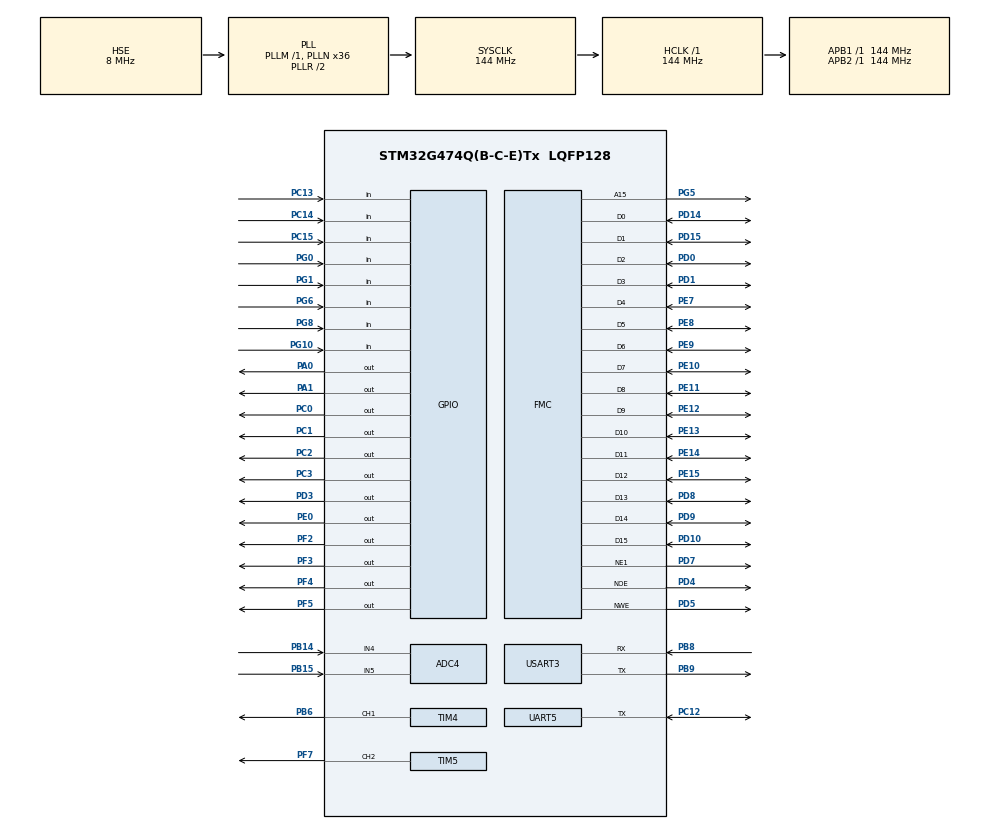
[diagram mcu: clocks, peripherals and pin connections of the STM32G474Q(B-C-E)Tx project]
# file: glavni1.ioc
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ADC4.Channel-3\#ChannelRegularConversion=ADC_CHANNEL_4
ADC4.Channel-4\#ChannelRegularConversion=ADC_CHANNEL_5
ADC4.DMAContinuousRequests=ENABLE
ADC4.ExternalTrigConv=ADC_EXTERNALTRIG_T1_TRGO
ADC4.NbrOfConversion=2
ADC4.NbrOfConversionFlag=1
ADC4.OffsetNumber-3\#ChannelRegularConversion=ADC_OFFSET_NONE
ADC4.OffsetNumber-4\#ChannelRegularConversion=ADC_OFFSET_NONE
ADC4.Rank-3\#ChannelRegularConversion=1
ADC4.Rank-4\#ChannelRegularConversion=2
ADC4.SamplingTime-3\#ChannelRegularConversion=ADC_SAMPLETIME_640CYCLES_5
ADC4.SamplingTime-4\#ChannelRegularConversion=ADC_SAMPLETIME_640CYCLES_5
Dma.ADC4.0.Direction=DMA_PERIPH_TO_MEMORY
Dma.ADC4.0.EventEnable=DISABLE
Dma.ADC4.0.Instance=DMA1_Channel1
Dma.ADC4.0.MemDataAlignment=DMA_MDATAALIGN_HALFWORD
Dma.ADC4.0.MemInc=DMA_MINC_ENABLE
Dma.ADC4.0.Mode=DMA_CIRCULAR
Dma.ADC4.0.PeriphDataAlignment=DMA_PDATAALIGN_HALFWORD
Dma.ADC4.0.PeriphInc=DMA_PINC_DISABLE
Dma.ADC4.0.Polarity=HAL_DMAMUX_REQ_GEN_RISING
Dma.ADC4.0.Priority=DMA_PRIORITY_LOW
Dma.ADC4.0.RequestNumber=1
Dma.ADC4.0.SignalID=NONE
Dma.ADC4.0.SyncEnable=DISABLE
Dma.ADC4.0.SyncPolarity=HAL_DMAMUX_SYNC_NO_EVENT
Dma.ADC4.0.SyncRequestNumber=1
Dma.ADC4.0.SyncSignalID=NONE
Dma.Request0=ADC4
FMC.AddressSetupTime1=1
FMC.BusTurnAroundDuration1=1
FMC.DataHoldTime1=1
FMC.DataSetupTime1=1
Mcu.Family=STM32G4
Mcu.Name=STM32G474Q(B-C-E)Tx
Mcu.Package=LQFP128
NVIC.DMA1_Channel1_IRQn=true\:0\:0\:false\:false\:true\:false\:true\:true
NVIC.PriorityGroup=NVIC_PRIORITYGROUP_4
NVIC.TIM5_IRQn=true\:0\:0\:false\:false\:true\:true\:true\:true
NVIC.TIM6_DAC_IRQn=true\:0\:0\:false\:false\:true\:true\:true\:true
NVIC.UART5_IRQn=true\:0\:0\:false\:false\:true\:true\:true\:true
NVIC.USART3_IRQn=true\:0\:0\:false\:false\:true\:true\:true\:true
PA0.Signal=GPIO_Output
PA1.Signal=GPIO_Output
PB14.Mode=IN4-Single-Ended
PB14.Signal=ADC4_IN4
PB15.Mode=IN5-Single-Ended
PB15.Signal=ADC4_IN5
PB6.Signal=S_TIM4_CH1
PB8-BOOT0.Mode=Asynchronous
PB8-BOOT0.Signal=USART3_RX
PB9.Mode=Asynchronous
PB9.Signal=USART3_TX
PC0.Signal=GPIO_Output
PC1.Signal=GPIO_Output
PC12.Mode=Half_duplex(single_wire_mode)
PC12.Signal=UART5_TX
PC13.GPIO_PuPd=GPIO_PULLUP
PC13.Signal=GPIO_Input
PC14-OSC32_IN.GPIO_PuPd=GPIO_PULLUP
PC14-OSC32_IN.Signal=GPIO_Input
PC15-OSC32_OUT.GPIO_PuPd=GPIO_PULLUP
PC15-OSC32_OUT.Signal=GPIO_Input
PC2.Signal=GPIO_Output
PC3.Signal=GPIO_Output
PD0.Signal=FMC_D2_DA2
PD1.Signal=FMC_D3_DA3
PD10.Signal=FMC_D15_DA15
PD14.Signal=FMC_D0_DA0
PD15.Signal=FMC_D1_DA1
PD3.Signal=GPIO_Output
PD4.Signal=FMC_NOE
PD5.Signal=FMC_NWE
PD7.Mode=NorPsramChipSelect1_1
PD7.Signal=FMC_NE1
PD8.Signal=FMC_D13_DA13
PD9.Signal=FMC_D14_DA14
PE0.Signal=GPIO_Output
PE10.Signal=FMC_D7_DA7
PE11.Signal=FMC_D8_DA8
PE12.Signal=FMC_D9_DA9
PE13.Signal=FMC_D10_DA10
PE14.Signal=FMC_D11_DA11
PE15.Signal=FMC_D12_DA12
PE7.Signal=FMC_D4_DA4
PE8.Signal=FMC_D5_DA5
PE9.Signal=FMC_D6_DA6
PF0-OSC_IN.Mode=HSE-External-Clock-Source
PF0-OSC_IN.Signal=RCC_OSC_IN
PF2.Signal=GPIO_Output
PF3.Signal=GPIO_Output
PF4.Signal=GPIO_Output
PF5.Signal=GPIO_Output
PF7.Signal=S_TIM5_CH2
PG0.GPIO_PuPd=GPIO_PULLUP
PG0.Signal=GPIO_Input
PG1.GPIO_PuPd=GPIO_PULLUP
PG1.Signal=GPIO_Input
PG10-NRST.GPIO_PuPd=GPIO_PULLUP
PG10-NRST.Signal=GPIO_Input
PG5.Signal=FMC_A15
PG6.GPIO_PuPd=GPIO_PULLUP
PG6.Signal=GPIO_Input
PG8.GPIO_PuPd=GPIO_PULLUP
PG8.Signal=GPIO_Input
ProjectManager.HeapSize=0x200
ProjectManager.StackSize=0x400
ProjectManager.TargetToolchain=STM32CubeIDE
RCC.ADC12Freq_Value=144000000
RCC.ADC345Freq_Value=144000000
RCC.AHBFreq_Value=144000000
RCC.APB1Freq_Value=144000000
RCC.APB1TimFreq_Value=144000000
RCC.APB2Freq_Value=144000000
RCC.APB2TimFreq_Value=144000000
RCC.CortexFreq_Value=144000000
RCC.EXTERNAL_CLOCK_VALUE=12288000
RCC.HCLKFreq_Value=144000000
RCC.HSE_VALUE=8000000
RCC.HSI48_VALUE=48000000
RCC.HSI_VALUE=16000000
RCC.LSE_VALUE=32768
RCC.PLLN=36
RCC.PLLQ=RCC_PLLQ_DIV6
RCC.PLLSourceVirtual=RCC_PLLSOURCE_HSE
RCC.SYSCLKFreq_VALUE=144000000
RCC.SYSCLKSource=RCC_SYSCLKSOURCE_PLLCLK
RCC.USBFreq_Value=48000000
RCC.VCOOutputFreq_Value=288000000
SH.FMC_A15.0=FMC_A15,A15_1
SH.FMC_D0_DA0.0=FMC_D0,16b-d1
SH.FMC_D10_DA10.0=FMC_D10,16b-d1
SH.FMC_D11_DA11.0=FMC_D11,16b-d1
SH.FMC_D12_DA12.0=FMC_D12,16b-d1
SH.FMC_D13_DA13.0=FMC_D13,16b-d1
SH.FMC_D14_DA14.0=FMC_D14,16b-d1
SH.FMC_D15_DA15.0=FMC_D15,16b-d1
SH.FMC_D1_DA1.0=FMC_D1,16b-d1
SH.FMC_D2_DA2.0=FMC_D2,16b-d1
SH.FMC_D3_DA3.0=FMC_D3,16b-d1
SH.FMC_D4_DA4.0=FMC_D4,16b-d1
SH.FMC_D5_DA5.0=FMC_D5,16b-d1
SH.FMC_D6_DA6.0=FMC_D6,16b-d1
SH.FMC_D7_DA7.0=FMC_D7,16b-d1
SH.FMC_D8_DA8.0=FMC_D8,16b-d1
SH.FMC_D9_DA9.0=FMC_D9,16b-d1
SH.FMC_NOE.0=FMC_NOE,Lcd1
SH.FMC_NWE.0=FMC_NWE,Lcd1
SH.S_TIM4_CH1.0=TIM4_CH1,PWM Generation1 CH1
SH.S_TIM5_CH2.0=TIM5_CH2,PWM Generation2 CH2
TIM1.PeriodNoDither=100
TIM1.Prescaler=14399
TIM1.TIM_MasterOutputTrigger=TIM_TRGO_UPDATE
TIM4.Channel-PWM\ Generation1\ CH1=TIM_CHANNEL_1
TIM4.PeriodNoDither=99
TIM4.Prescaler=14399
TIM5.AutoReloadPreload=TIM_AUTORELOAD_PRELOAD_ENABLE
TIM5.Channel-PWM\ Generation2\ CH2=TIM_CHANNEL_2
TIM5.PeriodNoDither=499
TIM5.Prescaler=143
TIM6.PeriodNoDither=999
TIM6.Prescaler=143
UART5.BaudRate=9600
USART3.OverrunDisableParam=ADVFEATURE_OVERRUN_DISABLE
USART3.VirtualMode-Asynchronous=VM_ASYNC
VP_SYS_VS_DBSignals.Mode=DisableDeadBatterySignals
VP_TIM1_VS_ClockSourceINT.Mode=Internal
VP_TIM4_VS_ClockSourceINT.Mode=Internal
VP_TIM5_VS_ClockSourceINT.Mode=Internal
VP_TIM6_VS_ClockSourceINT.Mode=Enable_Timer
board=custom

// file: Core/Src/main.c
/* USER CODE BEGIN Header */
/**
  ******************************************************************************
  * @file           : main.c
  * @brief          : Main program body
  ******************************************************************************
  * @attention
  *
  * Copyright (c) 2026 STMicroelectronics.
  * All rights reserved.
  *
  * This software is licensed under terms that can be found in the LICENSE file
  * in the root directory of this software component.
  * If no LICENSE file comes with this software, it is provided AS-IS.
  *
  ******************************************************************************
  */
/* USER CODE END Header */
#include "main.h"

/* USER CODE BEGIN Includes */
#include "SCI.h"

#include "periodic_services.h"
#include "timing_utils.h"
#include "lcd_backlight.h"
#include "lcd.h"
#include "joystick.h"

#include "graphics.h"
#include "game.h"
/* USER CODE END Includes */

ADC_HandleTypeDef hadc4;
DMA_HandleTypeDef hdma_adc4;

TIM_HandleTypeDef htim1;
TIM_HandleTypeDef htim5;

SRAM_HandleTypeDef hsram1;

void SystemClock_Config(void);
static void MX_GPIO_Init(void);
static void MX_DMA_Init(void);
static void MX_USART3_UART_Init(void);
static void MX_UART5_Init(void);
static void MX_TIM6_Init(void);
static void MX_TIM4_Init(void);
static void MX_FMC_Init(void);
static void MX_ADC4_Init(void);
static void MX_TIM1_Init(void);
static void MX_TIM5_Init(void);

int main(void)
{

  /* MCU Configuration--------------------------------------------------------*/

  /* Reset of all peripherals, Initializes the Flash interface and the Systick. */
  HAL_Init();

  /* Configure the system clock */
  SystemClock_Config();

  /* Initialize all configured peripherals */
  MX_GPIO_Init();
  MX_DMA_Init();
  MX_USART3_UART_Init();
  MX_UART5_Init();
  MX_TIM6_Init();
  MX_TIM4_Init();
  MX_FMC_Init();
  MX_ADC4_Init();
  MX_TIM1_Init();
  MX_TIM5_Init();
  /* USER CODE BEGIN 2 */

  	  SCI_init();

  	  PSERV_init();
  	  PSERV_enable();

  	  LCD_BKLT_init();
  	  LCD_Init();
  	  LCD_uGUI_init();
  	  JOY_init(&hadc4, &htim1);

  	  InitMotor();

  	  MmsToMove(EX_MOTOR, 5000, DIR_RIGHT);

  /* USER CODE END 2 */

  /* Infinite loop */
  /* USER CODE BEGIN WHILE */
  while (1)
  {
	  //MainMenu();
    /* USER CODE END WHILE */

  }
}

void SystemClock_Config(void)
{
  RCC_OscInitTypeDef RCC_OscInitStruct = {0};
  RCC_ClkInitTypeDef RCC_ClkInitStruct = {0};

  /** Configure the main internal regulator output voltage
  */
  HAL_PWREx_ControlVoltageScaling(PWR_REGULATOR_VOLTAGE_SCALE1);

  /** Initializes the RCC Oscillators according to the specified parameters
  * in the RCC_OscInitTypeDef structure.
  */
  RCC_OscInitStruct.OscillatorType = RCC_OSCILLATORTYPE_HSE;
  RCC_OscInitStruct.HSEState = RCC_HSE_BYPASS;
  RCC_OscInitStruct.PLL.PLLState = RCC_PLL_ON;
  RCC_OscInitStruct.PLL.PLLSource = RCC_PLLSOURCE_HSE;
  RCC_OscInitStruct.PLL.PLLM = RCC_PLLM_DIV1;
  RCC_OscInitStruct.PLL.PLLN = 36;
  RCC_OscInitStruct.PLL.PLLP = RCC_PLLP_DIV2;
  RCC_OscInitStruct.PLL.PLLQ = RCC_PLLQ_DIV6;
  RCC_OscInitStruct.PLL.PLLR = RCC_PLLR_DIV2;
  if (HAL_RCC_OscConfig(&RCC_OscInitStruct) != HAL_OK)
  {
    Error_Handler();
  }

  /** Initializes the CPU, AHB and APB buses clocks
  */
  RCC_ClkInitStruct.ClockType = RCC_CLOCKTYPE_HCLK|RCC_CLOCKTYPE_SYSCLK
                              |RCC_CLOCKTYPE_PCLK1|RCC_CLOCKTYPE_PCLK2;
  RCC_ClkInitStruct.SYSCLKSource = RCC_SYSCLKSOURCE_PLLCLK;
  RCC_ClkInitStruct.AHBCLKDivider = RCC_SYSCLK_DIV1;
  RCC_ClkInitStruct.APB1CLKDivider = RCC_HCLK_DIV1;
  RCC_ClkInitStruct.APB2CLKDivider = RCC_HCLK_DIV1;

  if (HAL_RCC_ClockConfig(&RCC_ClkInitStruct, FLASH_LATENCY_4) != HAL_OK)
  {
    Error_Handler();
  }
}

static void MX_ADC4_Init(void)
{

  ADC_ChannelConfTypeDef sConfig = {0};

  /** Common config
  */
  hadc4.Instance = ADC4;
  hadc4.Init.ClockPrescaler = ADC_CLOCK_SYNC_PCLK_DIV4;
  hadc4.Init.Resolution = ADC_RESOLUTION_12B;
  hadc4.Init.DataAlign = ADC_DATAALIGN_RIGHT;
  hadc4.Init.GainCompensation = 0;
  hadc4.Init.ScanConvMode = ADC_SCAN_ENABLE;
  hadc4.Init.EOCSelection = ADC_EOC_SINGLE_CONV;
  hadc4.Init.LowPowerAutoWait = DISABLE;
  hadc4.Init.ContinuousConvMode = DISABLE;
  hadc4.Init.NbrOfConversion = 2;
  hadc4.Init.DiscontinuousConvMode = DISABLE;
  hadc4.Init.ExternalTrigConv = ADC_EXTERNALTRIG_T1_TRGO;
  hadc4.Init.ExternalTrigConvEdge = ADC_EXTERNALTRIGCONVEDGE_RISING;
  hadc4.Init.DMAContinuousRequests = ENABLE;
  hadc4.Init.Overrun = ADC_OVR_DATA_PRESERVED;
  hadc4.Init.OversamplingMode = DISABLE;
  if (HAL_ADC_Init(&hadc4) != HAL_OK)
  {
    Error_Handler();
  }

  /** Configure Regular Channel
  */
  sConfig.Channel = ADC_CHANNEL_4;
  sConfig.Rank = ADC_REGULAR_RANK_1;
  sConfig.SamplingTime = ADC_SAMPLETIME_640CYCLES_5;
  sConfig.SingleDiff = ADC_SINGLE_ENDED;
  sConfig.OffsetNumber = ADC_OFFSET_NONE;
  sConfig.Offset = 0;
  if (HAL_ADC_ConfigChannel(&hadc4, &sConfig) != HAL_OK)
  {
    Error_Handler();
  }

  /** Configure Regular Channel
  */
  sConfig.Channel = ADC_CHANNEL_5;
  sConfig.Rank = ADC_REGULAR_RANK_2;
  if (HAL_ADC_ConfigChannel(&hadc4, &sConfig) != HAL_OK)
  {
    Error_Handler();
  }

}

static void MX_TIM1_Init(void)
{

  TIM_ClockConfigTypeDef sClockSourceConfig = {0};
  TIM_MasterConfigTypeDef sMasterConfig = {0};

  htim1.Instance = TIM1;
  htim1.Init.Prescaler = 14399;
  htim1.Init.CounterMode = TIM_COUNTERMODE_UP;
  htim1.Init.Period = 100;
  htim1.Init.ClockDivision = TIM_CLOCKDIVISION_DIV1;
  htim1.Init.RepetitionCounter = 0;
  htim1.Init.AutoReloadPreload = TIM_AUTORELOAD_PRELOAD_DISABLE;
  if (HAL_TIM_Base_Init(&htim1) != HAL_OK)
  {
    Error_Handler();
  }
  sClockSourceConfig.ClockSource = TIM_CLOCKSOURCE_INTERNAL;
  if (HAL_TIM_ConfigClockSource(&htim1, &sClockSourceConfig) != HAL_OK)
  {
    Error_Handler();
  }
  sMasterConfig.MasterOutputTrigger = TIM_TRGO_UPDATE;
  sMasterConfig.MasterOutputTrigger2 = TIM_TRGO2_RESET;
  sMasterConfig.MasterSlaveMode = TIM_MASTERSLAVEMODE_DISABLE;
  if (HAL_TIMEx_MasterConfigSynchronization(&htim1, &sMasterConfig) != HAL_OK)
  {
    Error_Handler();
  }

}

static void MX_TIM4_Init(void)
{

  LL_TIM_InitTypeDef TIM_InitStruct = {0};
  LL_TIM_OC_InitTypeDef TIM_OC_InitStruct = {0};

  LL_GPIO_InitTypeDef GPIO_InitStruct = {0};

  /* Peripheral clock enable */
  LL_APB1_GRP1_EnableClock(LL_APB1_GRP1_PERIPH_TIM4);

  TIM_InitStruct.Prescaler = 14399;
  TIM_InitStruct.CounterMode = LL_TIM_COUNTERMODE_UP;
  TIM_InitStruct.Autoreload = 99;
  TIM_InitStruct.ClockDivision = LL_TIM_CLOCKDIVISION_DIV1;
  LL_TIM_Init(TIM4, &TIM_InitStruct);
  LL_TIM_DisableARRPreload(TIM4);
  LL_TIM_SetClockSource(TIM4, LL_TIM_CLOCKSOURCE_INTERNAL);
  LL_TIM_OC_EnablePreload(TIM4, LL_TIM_CHANNEL_CH1);
  TIM_OC_InitStruct.OCMode = LL_TIM_OCMODE_PWM1;
  TIM_OC_InitStruct.OCState = LL_TIM_OCSTATE_DISABLE;
  TIM_OC_InitStruct.OCNState = LL_TIM_OCSTATE_DISABLE;
  TIM_OC_InitStruct.CompareValue = 0;
  TIM_OC_InitStruct.OCPolarity = LL_TIM_OCPOLARITY_HIGH;
  LL_TIM_OC_Init(TIM4, LL_TIM_CHANNEL_CH1, &TIM_OC_InitStruct);
  LL_TIM_OC_DisableFast(TIM4, LL_TIM_CHANNEL_CH1);
  LL_TIM_SetTriggerOutput(TIM4, LL_TIM_TRGO_RESET);
  LL_TIM_DisableMasterSlaveMode(TIM4);
  LL_AHB2_GRP1_EnableClock(LL_AHB2_GRP1_PERIPH_GPIOB);
  /**TIM4 GPIO Configuration
  PB6   ------> TIM4_CH1
  */
  GPIO_InitStruct.Pin = LL_GPIO_PIN_6;
  GPIO_InitStruct.Mode = LL_GPIO_MODE_ALTERNATE;
  GPIO_InitStruct.Speed = LL_GPIO_SPEED_FREQ_LOW;
  GPIO_InitStruct.OutputType = LL_GPIO_OUTPUT_PUSHPULL;
  GPIO_InitStruct.Pull = LL_GPIO_PULL_NO;
  GPIO_InitStruct.Alternate = LL_GPIO_AF_2;
  LL_GPIO_Init(GPIOB, &GPIO_InitStruct);

}

static void MX_TIM5_Init(void)
{

  TIM_ClockConfigTypeDef sClockSourceConfig = {0};
  TIM_MasterConfigTypeDef sMasterConfig = {0};
  TIM_OC_InitTypeDef sConfigOC = {0};

  htim5.Instance = TIM5;
  htim5.Init.Prescaler = 143;
  htim5.Init.CounterMode = TIM_COUNTERMODE_UP;
  htim5.Init.Period = 499;
  htim5.Init.ClockDivision = TIM_CLOCKDIVISION_DIV1;
  htim5.Init.AutoReloadPreload = TIM_AUTORELOAD_PRELOAD_ENABLE;
  if (HAL_TIM_Base_Init(&htim5) != HAL_OK)
  {
    Error_Handler();
  }
  sClockSourceConfig.ClockSource = TIM_CLOCKSOURCE_INTERNAL;
  if (HAL_TIM_ConfigClockSource(&htim5, &sClockSourceConfig) != HAL_OK)
  {
    Error_Handler();
  }
  if (HAL_TIM_PWM_Init(&htim5) != HAL_OK)
  {
    Error_Handler();
  }
  sMasterConfig.MasterOutputTrigger = TIM_TRGO_RESET;
  sMasterConfig.MasterSlaveMode = TIM_MASTERSLAVEMODE_DISABLE;
  if (HAL_TIMEx_MasterConfigSynchronization(&htim5, &sMasterConfig) != HAL_OK)
  {
    Error_Handler();
  }
  sConfigOC.OCMode = TIM_OCMODE_PWM1;
  sConfigOC.Pulse = 0;
  sConfigOC.OCPolarity = TIM_OCPOLARITY_HIGH;
  sConfigOC.OCFastMode = TIM_OCFAST_DISABLE;
  if (HAL_TIM_PWM_ConfigChannel(&htim5, &sConfigOC, TIM_CHANNEL_2) != HAL_OK)
  {
    Error_Handler();
  }
  HAL_TIM_MspPostInit(&htim5);

}

static void MX_TIM6_Init(void)
{

  LL_TIM_InitTypeDef TIM_InitStruct = {0};

  /* Peripheral clock enable */
  LL_APB1_GRP1_EnableClock(LL_APB1_GRP1_PERIPH_TIM6);

  /* TIM6 interrupt Init */
  NVIC_SetPriority(TIM6_DAC_IRQn, NVIC_EncodePriority(NVIC_GetPriorityGrouping(),0, 0));
  NVIC_EnableIRQ(TIM6_DAC_IRQn);

  TIM_InitStruct.Prescaler = 143;
  TIM_InitStruct.CounterMode = LL_TIM_COUNTERMODE_UP;
  TIM_InitStruct.Autoreload = 999;
  LL_TIM_Init(TIM6, &TIM_InitStruct);
  LL_TIM_DisableARRPreload(TIM6);
  LL_TIM_SetTriggerOutput(TIM6, LL_TIM_TRGO_RESET);
  LL_TIM_DisableMasterSlaveMode(TIM6);

}

static void MX_UART5_Init(void)
{

  LL_USART_InitTypeDef USART_InitStruct = {0};

  LL_GPIO_InitTypeDef GPIO_InitStruct = {0};
  RCC_PeriphCLKInitTypeDef PeriphClkInit = {0};

  /** Initializes the peripherals clocks
  */
  PeriphClkInit.PeriphClockSelection = RCC_PERIPHCLK_UART5;
  PeriphClkInit.Uart5ClockSelection = RCC_UART5CLKSOURCE_PCLK1;
  if (HAL_RCCEx_PeriphCLKConfig(&PeriphClkInit) != HAL_OK)
  {
    Error_Handler();
  }

  /* Peripheral clock enable */
  LL_APB1_GRP1_EnableClock(LL_APB1_GRP1_PERIPH_UART5);

  LL_AHB2_GRP1_EnableClock(LL_AHB2_GRP1_PERIPH_GPIOC);
  /**UART5 GPIO Configuration
  PC12   ------> UART5_TX
  */
  GPIO_InitStruct.Pin = LL_GPIO_PIN_12;
  GPIO_InitStruct.Mode = LL_GPIO_MODE_ALTERNATE;
  GPIO_InitStruct.Speed = LL_GPIO_SPEED_FREQ_LOW;
  GPIO_InitStruct.OutputType = LL_GPIO_OUTPUT_OPENDRAIN;
  GPIO_InitStruct.Pull = LL_GPIO_PULL_NO;
  GPIO_InitStruct.Alternate = LL_GPIO_AF_5;
  LL_GPIO_Init(GPIOC, &GPIO_InitStruct);

  /* UART5 interrupt Init */
  NVIC_SetPriority(UART5_IRQn, NVIC_EncodePriority(NVIC_GetPriorityGrouping(),0, 0));
  NVIC_EnableIRQ(UART5_IRQn);

  USART_InitStruct.PrescalerValue = LL_USART_PRESCALER_DIV1;
  USART_InitStruct.BaudRate = 9600;
  USART_InitStruct.DataWidth = LL_USART_DATAWIDTH_8B;
  USART_InitStruct.StopBits = LL_USART_STOPBITS_1;
  USART_InitStruct.Parity = LL_USART_PARITY_NONE;
  USART_InitStruct.TransferDirection = LL_USART_DIRECTION_TX_RX;
  USART_InitStruct.OverSampling = LL_USART_OVERSAMPLING_16;
  LL_USART_Init(UART5, &USART_InitStruct);
  LL_USART_DisableFIFO(UART5);
  LL_USART_SetTXFIFOThreshold(UART5, LL_USART_FIFOTHRESHOLD_1_8);
  LL_USART_SetRXFIFOThreshold(UART5, LL_USART_FIFOTHRESHOLD_1_8);
  LL_USART_ConfigHalfDuplexMode(UART5);

  LL_USART_Enable(UART5);

  /* Polling UART5 initialisation */
  while((!(LL_USART_IsActiveFlag_TEACK(UART5))) || (!(LL_USART_IsActiveFlag_REACK(UART5))))
  {
  }

}

static void MX_USART3_UART_Init(void)
{

  LL_USART_InitTypeDef USART_InitStruct = {0};

  LL_GPIO_InitTypeDef GPIO_InitStruct = {0};
  RCC_PeriphCLKInitTypeDef PeriphClkInit = {0};

  /** Initializes the peripherals clocks
  */
  PeriphClkInit.PeriphClockSelection = RCC_PERIPHCLK_USART3;
  PeriphClkInit.Usart3ClockSelection = RCC_USART3CLKSOURCE_PCLK1;
  if (HAL_RCCEx_PeriphCLKConfig(&PeriphClkInit) != HAL_OK)
  {
    Error_Handler();
  }

  /* Peripheral clock enable */
  LL_APB1_GRP1_EnableClock(LL_APB1_GRP1_PERIPH_USART3);

  LL_AHB2_GRP1_EnableClock(LL_AHB2_GRP1_PERIPH_GPIOB);
  /**USART3 GPIO Configuration
  PB8-BOOT0   ------> USART3_RX
  PB9   ------> USART3_TX
  */
  GPIO_InitStruct.Pin = LL_GPIO_PIN_8;
  GPIO_InitStruct.Mode = LL_GPIO_MODE_ALTERNATE;
  GPIO_InitStruct.Speed = LL_GPIO_SPEED_FREQ_LOW;
  GPIO_InitStruct.OutputType = LL_GPIO_OUTPUT_PUSHPULL;
  GPIO_InitStruct.Pull = LL_GPIO_PULL_NO;
  GPIO_InitStruct.Alternate = LL_GPIO_AF_7;
  LL_GPIO_Init(GPIOB, &GPIO_InitStruct);

  GPIO_InitStruct.Pin = LL_GPIO_PIN_9;
  GPIO_InitStruct.Mode = LL_GPIO_MODE_ALTERNATE;
  GPIO_InitStruct.Speed = LL_GPIO_SPEED_FREQ_LOW;
  GPIO_InitStruct.OutputType = LL_GPIO_OUTPUT_PUSHPULL;
  GPIO_InitStruct.Pull = LL_GPIO_PULL_NO;
  GPIO_InitStruct.Alternate = LL_GPIO_AF_7;
  LL_GPIO_Init(GPIOB, &GPIO_InitStruct);

  /* USART3 interrupt Init */
  NVIC_SetPriority(USART3_IRQn, NVIC_EncodePriority(NVIC_GetPriorityGrouping(),0, 0));
  NVIC_EnableIRQ(USART3_IRQn);

  USART_InitStruct.PrescalerValue = LL_USART_PRESCALER_DIV1;
  USART_InitStruct.BaudRate = 115200;
  USART_InitStruct.DataWidth = LL_USART_DATAWIDTH_8B;
  USART_InitStruct.StopBits = LL_USART_STOPBITS_1;
  USART_InitStruct.Parity = LL_USART_PARITY_NONE;
  USART_InitStruct.TransferDirection = LL_USART_DIRECTION_TX_RX;
  USART_InitStruct.HardwareFlowControl = LL_USART_HWCONTROL_NONE;
  USART_InitStruct.OverSampling = LL_USART_OVERSAMPLING_16;
  LL_USART_Init(USART3, &USART_InitStruct);
  LL_USART_SetTXFIFOThreshold(USART3, LL_USART_FIFOTHRESHOLD_1_8);
  LL_USART_SetRXFIFOThreshold(USART3, LL_USART_FIFOTHRESHOLD_1_8);
  LL_USART_DisableFIFO(USART3);
  LL_USART_DisableOverrunDetect(USART3);
  LL_USART_ConfigAsyncMode(USART3);

  LL_USART_Enable(USART3);

  /* Polling USART3 initialisation */
  while((!(LL_USART_IsActiveFlag_TEACK(USART3))) || (!(LL_USART_IsActiveFlag_REACK(USART3))))
  {
  }

}

static void MX_DMA_Init(void)
{

  /* DMA controller clock enable */
  __HAL_RCC_DMAMUX1_CLK_ENABLE();
  __HAL_RCC_DMA1_CLK_ENABLE();

  /* DMA interrupt init */
  /* DMA1_Channel1_IRQn interrupt configuration */
  HAL_NVIC_SetPriority(DMA1_Channel1_IRQn, 0, 0);
  HAL_NVIC_EnableIRQ(DMA1_Channel1_IRQn);

}

/* FMC initialization function */
static void MX_FMC_Init(void)
{

  FMC_NORSRAM_TimingTypeDef Timing = {0};

  /** Perform the SRAM1 memory initialization sequence
  */
  hsram1.Instance = FMC_NORSRAM_DEVICE;
  hsram1.Extended = FMC_NORSRAM_EXTENDED_DEVICE;
  /* hsram1.Init */
  hsram1.Init.NSBank = FMC_NORSRAM_BANK1;
  hsram1.Init.DataAddressMux = FMC_DATA_ADDRESS_MUX_DISABLE;
  hsram1.Init.MemoryType = FMC_MEMORY_TYPE_SRAM;
  hsram1.Init.MemoryDataWidth = FMC_NORSRAM_MEM_BUS_WIDTH_16;
  hsram1.Init.BurstAccessMode = FMC_BURST_ACCESS_MODE_DISABLE;
  hsram1.Init.WaitSignalPolarity = FMC_WAIT_SIGNAL_POLARITY_LOW;
  hsram1.Init.WaitSignalActive = FMC_WAIT_TIMING_BEFORE_WS;
  hsram1.Init.WriteOperation = FMC_WRITE_OPERATION_ENABLE;
  hsram1.Init.WaitSignal = FMC_WAIT_SIGNAL_DISABLE;
  hsram1.Init.ExtendedMode = FMC_EXTENDED_MODE_DISABLE;
  hsram1.Init.AsynchronousWait = FMC_ASYNCHRONOUS_WAIT_DISABLE;
  hsram1.Init.WriteBurst = FMC_WRITE_BURST_DISABLE;
  hsram1.Init.ContinuousClock = FMC_CONTINUOUS_CLOCK_SYNC_ONLY;
  hsram1.Init.WriteFifo = FMC_WRITE_FIFO_ENABLE;
  hsram1.Init.NBLSetupTime = 0;
  hsram1.Init.PageSize = FMC_PAGE_SIZE_NONE;
  hsram1.Init.MaxChipSelectPulse = DISABLE;
  /* Timing */
  Timing.AddressSetupTime = 1;
  Timing.AddressHoldTime = 15;
  Timing.DataSetupTime = 1;
  Timing.DataHoldTime = 1;
  Timing.BusTurnAroundDuration = 1;
  Timing.CLKDivision = 16;
  Timing.DataLatency = 17;
  Timing.AccessMode = FMC_ACCESS_MODE_A;
  /* ExtTiming */

  if (HAL_SRAM_Init(&hsram1, &Timing, NULL) != HAL_OK)
  {
    Error_Handler( );
  }

}

static void MX_GPIO_Init(void)
{
  LL_GPIO_InitTypeDef GPIO_InitStruct = {0};

  /* GPIO Ports Clock Enable */
  LL_AHB2_GRP1_EnableClock(LL_AHB2_GRP1_PERIPH_GPIOC);
  LL_AHB2_GRP1_EnableClock(LL_AHB2_GRP1_PERIPH_GPIOF);
  LL_AHB2_GRP1_EnableClock(LL_AHB2_GRP1_PERIPH_GPIOG);
  LL_AHB2_GRP1_EnableClock(LL_AHB2_GRP1_PERIPH_GPIOA);
  LL_AHB2_GRP1_EnableClock(LL_AHB2_GRP1_PERIPH_GPIOE);
  LL_AHB2_GRP1_EnableClock(LL_AHB2_GRP1_PERIPH_GPIOB);
  LL_AHB2_GRP1_EnableClock(LL_AHB2_GRP1_PERIPH_GPIOD);

  /**/
  LL_GPIO_ResetOutputPin(GPIOF, LL_GPIO_PIN_3);

  /**/
  LL_GPIO_ResetOutputPin(GPIOF, LL_GPIO_PIN_4);

  /**/
  LL_GPIO_ResetOutputPin(GPIOF, LL_GPIO_PIN_5);

  /**/
  LL_GPIO_ResetOutputPin(GPIOC, LL_GPIO_PIN_0);

  /**/
  LL_GPIO_ResetOutputPin(GPIOC, LL_GPIO_PIN_1);

  /**/
  LL_GPIO_ResetOutputPin(GPIOC, LL_GPIO_PIN_2);

  /**/
  LL_GPIO_ResetOutputPin(GPIOC, LL_GPIO_PIN_3);

  /**/
  LL_GPIO_ResetOutputPin(GPIOF, LL_GPIO_PIN_2);

  /**/
  LL_GPIO_ResetOutputPin(GPIOA, LL_GPIO_PIN_0);

  /**/
  LL_GPIO_ResetOutputPin(GPIOA, LL_GPIO_PIN_1);

  /**/
  LL_GPIO_ResetOutputPin(GPIOD, LL_GPIO_PIN_3);

  /**/
  LL_GPIO_ResetOutputPin(GPIOE, LL_GPIO_PIN_0);

  /**/
  GPIO_InitStruct.Pin = LL_GPIO_PIN_13;
  GPIO_InitStruct.Mode = LL_GPIO_MODE_INPUT;
  GPIO_InitStruct.Pull = LL_GPIO_PULL_UP;
  LL_GPIO_Init(GPIOC, &GPIO_InitStruct);

  /**/
  GPIO_InitStruct.Pin = LL_GPIO_PIN_14;
  GPIO_InitStruct.Mode = LL_GPIO_MODE_INPUT;
  GPIO_InitStruct.Pull = LL_GPIO_PULL_UP;
  LL_GPIO_Init(GPIOC, &GPIO_InitStruct);

  /**/
  GPIO_InitStruct.Pin = LL_GPIO_PIN_15;
  GPIO_InitStruct.Mode = LL_GPIO_MODE_INPUT;
  GPIO_InitStruct.Pull = LL_GPIO_PULL_UP;
  LL_GPIO_Init(GPIOC, &GPIO_InitStruct);

  /**/
  GPIO_InitStruct.Pin = LL_GPIO_PIN_3;
  GPIO_InitStruct.Mode = LL_GPIO_MODE_OUTPUT;
  GPIO_InitStruct.Speed = LL_GPIO_SPEED_FREQ_LOW;
  GPIO_InitStruct.OutputType = LL_GPIO_OUTPUT_PUSHPULL;
  GPIO_InitStruct.Pull = LL_GPIO_PULL_NO;
  LL_GPIO_Init(GPIOF, &GPIO_InitStruct);

  /**/
  GPIO_InitStruct.Pin = LL_GPIO_PIN_4;
  GPIO_InitStruct.Mode = LL_GPIO_MODE_OUTPUT;
  GPIO_InitStruct.Speed = LL_GPIO_SPEED_FREQ_LOW;
  GPIO_InitStruct.OutputType = LL_GPIO_OUTPUT_PUSHPULL;
  GPIO_InitStruct.Pull = LL_GPIO_PULL_NO;
  LL_GPIO_Init(GPIOF, &GPIO_InitStruct);

  /**/
  GPIO_InitStruct.Pin = LL_GPIO_PIN_5;
  GPIO_InitStruct.Mode = LL_GPIO_MODE_OUTPUT;
  GPIO_InitStruct.Speed = LL_GPIO_SPEED_FREQ_LOW;
  GPIO_InitStruct.OutputType = LL_GPIO_OUTPUT_PUSHPULL;
  GPIO_InitStruct.Pull = LL_GPIO_PULL_NO;
  LL_GPIO_Init(GPIOF, &GPIO_InitStruct);

  /**/
  GPIO_InitStruct.Pin = LL_GPIO_PIN_10;
  GPIO_InitStruct.Mode = LL_GPIO_MODE_INPUT;
  GPIO_InitStruct.Pull = LL_GPIO_PULL_UP;
  LL_GPIO_Init(GPIOG, &GPIO_InitStruct);

  /**/
  GPIO_InitStruct.Pin = LL_GPIO_PIN_0;
  GPIO_InitStruct.Mode = LL_GPIO_MODE_OUTPUT;
  GPIO_InitStruct.Speed = LL_GPIO_SPEED_FREQ_LOW;
  GPIO_InitStruct.OutputType = LL_GPIO_OUTPUT_PUSHPULL;
  GPIO_InitStruct.Pull = LL_GPIO_PULL_NO;
  LL_GPIO_Init(GPIOC, &GPIO_InitStruct);

  /**/
  GPIO_InitStruct.Pin = LL_GPIO_PIN_1;
  GPIO_InitStruct.Mode = LL_GPIO_MODE_OUTPUT;
  GPIO_InitStruct.Speed = LL_GPIO_SPEED_FREQ_LOW;
  GPIO_InitStruct.OutputType = LL_GPIO_OUTPUT_PUSHPULL;
  GPIO_InitStruct.Pull = LL_GPIO_PULL_NO;
  LL_GPIO_Init(GPIOC, &GPIO_InitStruct);

  /**/
  GPIO_InitStruct.Pin = LL_GPIO_PIN_2;
  GPIO_InitStruct.Mode = LL_GPIO_MODE_OUTPUT;
  GPIO_InitStruct.Speed = LL_GPIO_SPEED_FREQ_LOW;
  GPIO_InitStruct.OutputType = LL_GPIO_OUTPUT_PUSHPULL;
  GPIO_InitStruct.Pull = LL_GPIO_PULL_NO;
  LL_GPIO_Init(GPIOC, &GPIO_InitStruct);

  /**/
  GPIO_InitStruct.Pin = LL_GPIO_PIN_3;
  GPIO_InitStruct.Mode = LL_GPIO_MODE_OUTPUT;
  GPIO_InitStruct.Speed = LL_GPIO_SPEED_FREQ_LOW;
  GPIO_InitStruct.OutputType = LL_GPIO_OUTPUT_PUSHPULL;
  GPIO_InitStruct.Pull = LL_GPIO_PULL_NO;
  LL_GPIO_Init(GPIOC, &GPIO_InitStruct);

  /**/
  GPIO_InitStruct.Pin = LL_GPIO_PIN_2;
  GPIO_InitStruct.Mode = LL_GPIO_MODE_OUTPUT;
  GPIO_InitStruct.Speed = LL_GPIO_SPEED_FREQ_LOW;
  GPIO_InitStruct.OutputType = LL_GPIO_OUTPUT_PUSHPULL;
  GPIO_InitStruct.Pull = LL_GPIO_PULL_NO;
  LL_GPIO_Init(GPIOF, &GPIO_InitStruct);

  /**/
  GPIO_InitStruct.Pin = LL_GPIO_PIN_0;
  GPIO_InitStruct.Mode = LL_GPIO_MODE_OUTPUT;
  GPIO_InitStruct.Speed = LL_GPIO_SPEED_FREQ_LOW;
  GPIO_InitStruct.OutputType = LL_GPIO_OUTPUT_PUSHPULL;
  GPIO_InitStruct.Pull = LL_GPIO_PULL_NO;
  LL_GPIO_Init(GPIOA, &GPIO_InitStruct);

  /**/
  GPIO_InitStruct.Pin = LL_GPIO_PIN_1;
  GPIO_InitStruct.Mode = LL_GPIO_MODE_OUTPUT;
  GPIO_InitStruct.Speed = LL_GPIO_SPEED_FREQ_LOW;
  GPIO_InitStruct.OutputType = LL_GPIO_OUTPUT_PUSHPULL;
  GPIO_InitStruct.Pull = LL_GPIO_PULL_NO;
  LL_GPIO_Init(GPIOA, &GPIO_InitStruct);

  /**/
  GPIO_InitStruct.Pin = LL_GPIO_PIN_0;
  GPIO_InitStruct.Mode = LL_GPIO_MODE_INPUT;
  GPIO_InitStruct.Pull = LL_GPIO_PULL_UP;
  LL_GPIO_Init(GPIOG, &GPIO_InitStruct);

  /**/
  GPIO_InitStruct.Pin = LL_GPIO_PIN_1;
  GPIO_InitStruct.Mode = LL_GPIO_MODE_INPUT;
  GPIO_InitStruct.Pull = LL_GPIO_PULL_UP;
  LL_GPIO_Init(GPIOG, &GPIO_InitStruct);

  /**/
  GPIO_InitStruct.Pin = LL_GPIO_PIN_6;
  GPIO_InitStruct.Mode = LL_GPIO_MODE_INPUT;
  GPIO_InitStruct.Pull = LL_GPIO_PULL_UP;
  LL_GPIO_Init(GPIOG, &GPIO_InitStruct);

  /**/
  GPIO_InitStruct.Pin = LL_GPIO_PIN_8;
  GPIO_InitStruct.Mode = LL_GPIO_MODE_INPUT;
  GPIO_InitStruct.Pull = LL_GPIO_PULL_UP;
  LL_GPIO_Init(GPIOG, &GPIO_InitStruct);

  /**/
  GPIO_InitStruct.Pin = LL_GPIO_PIN_3;
  GPIO_InitStruct.Mode = LL_GPIO_MODE_OUTPUT;
  GPIO_InitStruct.Speed = LL_GPIO_SPEED_FREQ_LOW;
  GPIO_InitStruct.OutputType = LL_GPIO_OUTPUT_PUSHPULL;
  GPIO_InitStruct.Pull = LL_GPIO_PULL_NO;
  LL_GPIO_Init(GPIOD, &GPIO_InitStruct);

  /**/
  GPIO_InitStruct.Pin = LL_GPIO_PIN_0;
  GPIO_InitStruct.Mode = LL_GPIO_MODE_OUTPUT;
  GPIO_InitStruct.Speed = LL_GPIO_SPEED_FREQ_LOW;
  GPIO_InitStruct.OutputType = LL_GPIO_OUTPUT_PUSHPULL;
  GPIO_InitStruct.Pull = LL_GPIO_PULL_NO;
  LL_GPIO_Init(GPIOE, &GPIO_InitStruct);

}

void Error_Handler(void)
{
  __disable_irq();
  while (1)
  {
  }
}
